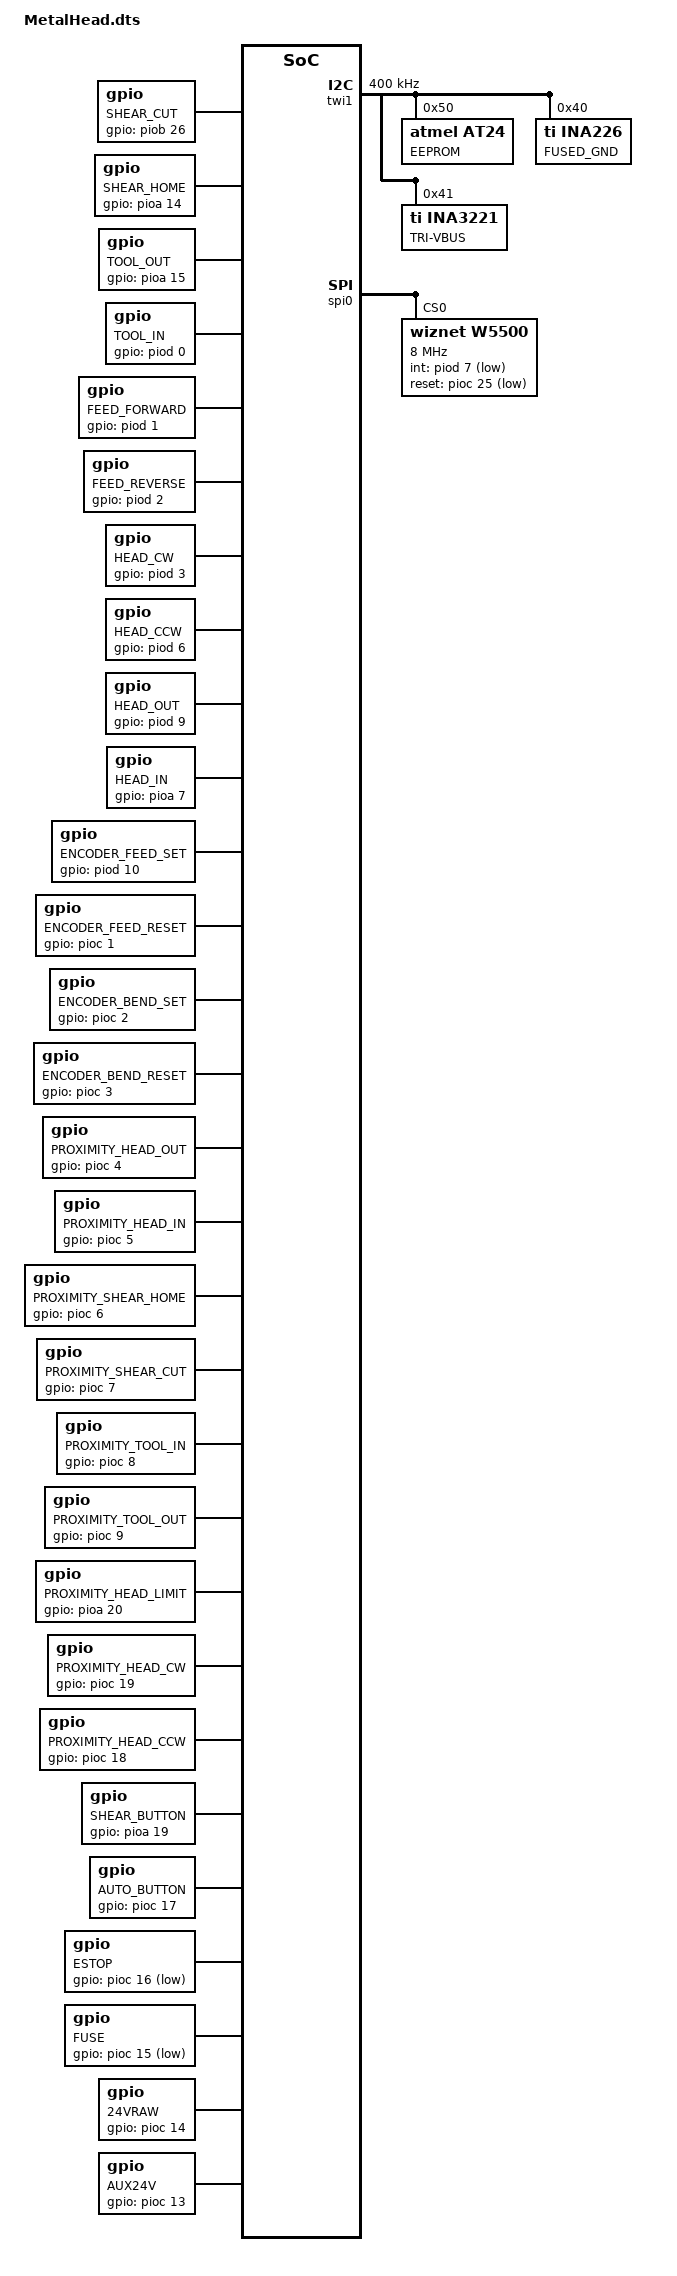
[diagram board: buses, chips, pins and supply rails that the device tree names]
/ {
	aliases {
		eeprom-0 = &at24_eeprom_0;
	};

	// Solenoids
	shear_cut: shear_cut {
		compatible = "gpio";
		gpios = <&piob 26 0>;
		label = "SHEAR_CUT";
	};
	shear_home: shear_home {
		compatible = "gpio";
		gpios = <&pioa 14 0>;
		label = "SHEAR_HOME";
	};
	tool_out: tool_out {
		compatible = "gpio";
		gpios = <&pioa 15 0>;
		label = "TOOL_OUT";
	};
	tool_in: tool_in {
		compatible = "gpio";
		gpios = <&piod 0 0>;
		label = "TOOL_IN";
	};
	feed_forward: feed_forward {
		compatible = "gpio";
		gpios = <&piod 1 0>;
		label = "FEED_FORWARD";
	};
	feed_reverse: feed_reverse {
		compatible = "gpio";
		gpios = <&piod 2 0>;
		label = "FEED_REVERSE";
	};
	head_cw: head_cw {
		compatible = "gpio";
		gpios = <&piod 3 0>;
		label = "HEAD_CW";
	};
	head_ccw: head_ccw {
		compatible = "gpio";
		gpios = <&piod 6 0>;
		label = "HEAD_CCW";
	};
	head_out: head_out {
		compatible = "gpio";
		gpios = <&piod 9 0>;
		label = "HEAD_OUT";
	};
	head_in: head_in {
		compatible = "gpio";
		gpios = <&pioa 7 0>;
		label = "HEAD_IN";
	};

	// Encoders
	encoder_feed_set: encoder_feed_set {
		compatible = "gpio";
		gpios = <&piod 10 0>;
		label = "ENCODER_FEED_SET";
	};
	encoder_feed_reset: encoder_feed_reset {
		compatible = "gpio";
		gpios = <&pioc 1 0>;
		label = "ENCODER_FEED_RESET";
	};
	encoder_bend_set: encoder_bend_set {
		compatible = "gpio";
		gpios = <&pioc 2 0>;
		label = "ENCODER_BEND_SET";
	};
	encoder_bend_reset: encoder_bend_reset {
		compatible = "gpio";
		gpios = <&pioc 3 0>;
		label = "ENCODER_BEND_RESET";
	};

	// Proximity sensors
	proximity_head_out: proximity_head_out {
		compatible = "gpio";
		gpios = <&pioc 4 0>;
		label = "PROXIMITY_HEAD_OUT";
	};
	proximity_head_in: proximity_head_in {
		compatible = "gpio";
		gpios = <&pioc 5 0>;
		label = "PROXIMITY_HEAD_IN";
	};
	proximity_shear_home: proximity_shear_home {
		compatible = "gpio";
		gpios = <&pioc 6 0>;
		label = "PROXIMITY_SHEAR_HOME";
	};
	proximity_shear_cut: proximity_shear_cut {
		compatible = "gpio";
		gpios = <&pioc 7 0>;
		label = "PROXIMITY_SHEAR_CUT";
	};
	proximity_tool_in: proximity_tool_in {
		compatible = "gpio";
		gpios = <&pioc 8 0>;
		label = "PROXIMITY_TOOL_IN";
	};
	proximity_tool_out: proximity_tool_out {
		compatible = "gpio";
		gpios = <&pioc 9 0>;
		label = "PROXIMITY_TOOL_OUT";
	};
	proximity_head_limit: proximity_head_limit {
		compatible = "gpio";
		gpios = <&pioa 20 0>;
		label = "PROXIMITY_HEAD_LIMIT";
	};
	proximity_head_cw: proximity_head_cw {
		compatible = "gpio";
		gpios = <&pioc 19 0>;
		label = "PROXIMITY_HEAD_CW";
	};
	proximity_head_ccw: proximity_head_ccw {
		compatible = "gpio";
		gpios = <&pioc 18 0>;
		label = "PROXIMITY_HEAD_CCW";
	};

	// Buttons
	shear_button: shear_button {
		compatible = "gpio";
		gpios = <&pioa 19 0>;
		label = "SHEAR_BUTTON";
	};
	auto_button: auto_button {
		compatible = "gpio";
		gpios = <&pioc 17 0>;
		label = "AUTO_BUTTON";
	};

	// Auxillary
	estop: estop {
		compatible = "gpio";
		gpios = <&pioc 16 1>; // The 1 will invert the active logic
		label = "ESTOP";
	};
	fuse: fuse {
		compatible = "gpio";
		gpios = <&pioc 15 1>; // The 1 will invert the active logic
		label = "FUSE";
	};

	// Power
	vraw24: vraw24 {
		compatible = "gpio";
		gpios = <&pioc 14 0>;
		label = "24VRAW";
	};
	aux24v: aux24v {
		compatible = "gpio";
		gpios = <&pioc 13 0>;
		label = "AUX24V";
	};
};

&twi1 {
	status = "okay";
	clock-frequency = <I2C_BITRATE_FAST>;
	at24_eeprom_0: eeprom@50 {
		compatible = "atmel,at24";
		reg = <0x50>;
		size = <32768>;
		pagesize = <64>;
		address-width = <16>;
		timeout = <5>;
		label = "EEPROM";
	};
	ina226_0: ina226@40 {
		compatible = "ti,ina226";
		reg = <0x40>; // I2C address
		label = "FUSED_GND";
		avg-count = <256>;
		rshunt-micro-ohms = <2000>; // Example: 2 mOhm shunt
		current-lsb-microamps = <457>;  // Example: 457 uA/LSB (15A)
		// Other configurations like bus-voltage-resistor etc.
	};
	ina3221_0: ina3221@41 {
		compatible = "ti,ina3221";
		reg = <0x41>; // I2C address
		label = "TRI-VBUS";
		conv-time-shunt = <4>; // 1.1mS
		conv-time-bus = <4>; // 1.1mS
		avg-mode = <0>; // 1 sample
		enable-channel = <1 1 1>; // Channels 1-3
		shunt-resistors = <2 2 2>; // mOhms for channels 1-3
	};
};

&spi0 {
	w5500: w5500@0 {
		compatible = "wiznet,w5500";
		reg = <0>; // Chip select line
		spi-max-frequency = <8000000>; // Example frequency
		int-gpios = <&piod 7 GPIO_ACTIVE_LOW>; // Replace with your GPIO port and pin
		reset-gpios = <&pioc 25 GPIO_ACTIVE_LOW>; // Replace with your GPIO port and pin
	};
};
